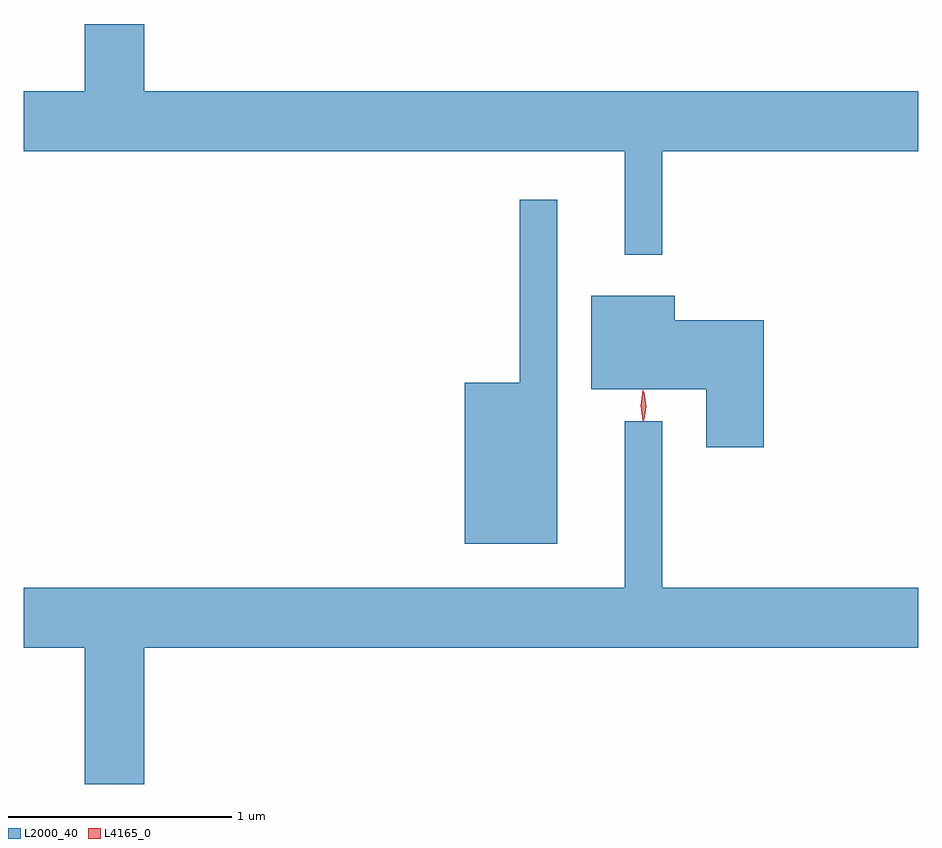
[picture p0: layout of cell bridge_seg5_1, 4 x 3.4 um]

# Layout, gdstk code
import gdstk
lib = gdstk.Library(unit=1e-6, precision=1e-09)
def P(c, l, *ps):  # polygons
    for p in ps: c.add(gdstk.Polygon(p, *l))
L2000_40 = (2000, 40)
L4165_0 = (4165, 0)

bridge_seg5_1 = lib.new_cell('bridge_seg5_1')
P(bridge_seg5_1, L2000_40, [(1736.139,1507.856),(1737.284,1507.856),(1737.284,1508.124),(1733.824,1508.124),(1733.824,1508.424),(1733.556,1508.424),(1733.556,1508.124),(1733.284,1508.124),(1733.284,1507.856),(1735.971,1507.856),(1735.971,1507.393),(1736.139,1507.393)],
  [(1735.669,1507.638),(1735.501,1507.638),(1735.501,1506.819),(1735.256,1506.819),(1735.256,1506.101),(1735.669,1506.101)],
  [(1736.594,1507.099),(1736.194,1507.099),(1736.194,1507.209),(1735.821,1507.209),(1735.821,1506.791),(1736.336,1506.791),(1736.336,1506.531),(1736.594,1506.531)],
  [(1735.971,1506.648),(1735.971,1505.904),(1733.284,1505.904),(1733.284,1505.636),(1733.556,1505.636),(1733.556,1505.026),(1733.824,1505.026),(1733.824,1505.636),(1737.284,1505.636),(1737.284,1505.904),(1736.139,1505.904),(1736.139,1506.648)])
P(bridge_seg5_1, L4165_0, [(1736.053,1506.65),(1736.044,1506.718),(1736.053,1506.786),(1736.054,1506.786),(1736.054,1506.786),(1736.064,1506.718),(1736.054,1506.65),(1736.054,1506.65)],
  [(1736.058,1506.653),(1736.058,1506.654),(1736.048,1506.716),(1736.058,1506.778),(1736.058,1506.779),(1736.058,1506.778),(1736.068,1506.716),(1736.058,1506.654)])

lib.write_gds('bridge_seg5_1.gds')
